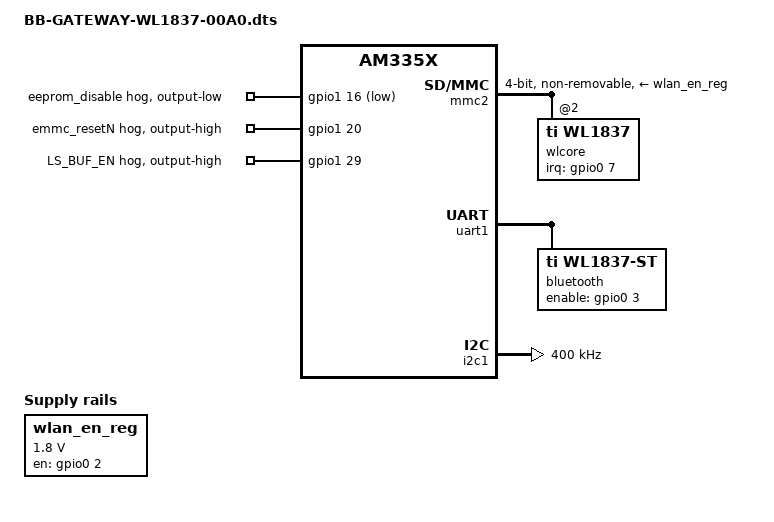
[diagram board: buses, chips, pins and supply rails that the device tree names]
// SPDX-License-Identifier: GPL-2.0-only
/*
 * Copyright (C) 2012 Texas Instruments Incorporated - https://www.ti.com/
 */

/dts-v1/;
/plugin/;

#include <dt-bindings/gpio/gpio.h>
#include <dt-bindings/pinctrl/am33xx.h>
#include <dt-bindings/interrupt-controller/irq.h>

/ {
	compatible = "ti,am335x-bone";
};

&{/} {
	wlan_en_reg: fixedregulator@2 {
		compatible = "regulator-fixed";
		regulator-name = "wlan-en-regulator";
		regulator-min-microvolt = <1800000>;
		regulator-max-microvolt = <1800000>;
		startup-delay-us= <70000>;

		/* WL_EN */
		gpio = <&gpio0 2 0>;
		enable-active-high;
	};
};

/*
 * Free up the pins used by the cape from the pinmux helpers.
 */
&ocp {
	P9_21_pinmux { status = "disabled"; };	/* P9_21: gpio0_3 BT_EN */

	P8_26_pinmux { status = "disabled"; };	/* P8_26: gpmc_csn0.gpio1_29 LS_BUF_EN */

	P9_15_pinmux { status = "disabled"; };	/* P9_15: EEPROM Disable */

	P8_21_pinmux { status = "disabled"; };	/* P8_21: gpmc_csn1.mmc1_clk */
	P8_20_pinmux { status = "disabled"; };	/* P8_20: gpmc_csn2.mmc1_cmd */
	P8_25_pinmux { status = "disabled"; };	/* P8_25: gpmc_ad0.mmc1_dat0 */
	P8_24_pinmux { status = "disabled"; };	/* P8_24: gpmc_ad1.mmc1_dat1 */
	P8_05_pinmux { status = "disabled"; };	/* P8_05: gpmc_ad2.mmc1_dat2 */
	P8_06_pinmux { status = "disabled"; };	/* P8_06: gpmc_ad3.mmc1_dat3 */

	P9_22_pinmux { status = "disabled"; };	/* P9_22: gpio0_2 WL_EN */
	P9_42_pinmux { status = "disabled"; };	/* P9_42: gpio0_7 WL_IRQ */
	P8_07_pinmux { status = "disabled"; };	/* P8_07: gpmc_advn_ale.gpio2_2 Audio_sync */


	P9_26_pinmux { status = "disabled"; };	/* P9_26: (D16) uart1_rxd.uart1_rxd */
	P9_24_pinmux { status = "disabled"; };	/* P9_24: (D15) uart1_txd.uart1_txd */
	P9_20_pinmux { status = "disabled"; };	/* P9_20: (D18) uart1_ctsn.uart1_ctsn */
	P9_19_pinmux { status = "disabled"; };	/* P9_19: (D17) uart1_rtsn.uart1_rtsn */


	P9_17_pinmux { status = "disabled"; };	/* P9_17: i2c1 */
	P9_18_pinmux { status = "disabled"; };	/* P9_18: i2c1 */
};

&am33xx_pinmux {
	wlbtbuf_pin: pinmux_wlbtbuf_pin {
		pinctrl-single,pins = <
			AM33XX_IOPAD(AM335X_PIN_GPMC_CSN0, PIN_OUTPUT_PULLUP | MUX_MODE7)	/* P8_26: gpmc_csn0.gpio1_29 LS_BUF_EN */
		>;
	};

	btbuf_pin: pinmux_btbuf_pin {
		pinctrl-single,pins = <
			AM33XX_IOPAD(AM335X_PIN_GPMC_A0, PIN_OUTPUT_PULLDOWN | MUX_MODE7)	/* P9_15: EEPROM Disable */
		>;
	};

	mmc2_pins: pinmux_mmc2_pins {
		pinctrl-single,pins = <
			AM33XX_IOPAD(AM335X_PIN_GPMC_CSN1, PIN_INPUT_PULLUP | MUX_MODE2)	/* P8_21: gpmc_csn1.mmc1_clk */
			AM33XX_IOPAD(AM335X_PIN_GPMC_CSN2, PIN_INPUT_PULLUP | MUX_MODE2)	/* P8_20: gpmc_csn2.mmc1_cmd */
			AM33XX_IOPAD(AM335X_PIN_GPMC_AD0, PIN_INPUT_PULLUP | MUX_MODE1)		/* P8_25: gpmc_ad0.mmc1_dat0 */
			AM33XX_IOPAD(AM335X_PIN_GPMC_AD1, PIN_INPUT_PULLUP | MUX_MODE1)		/* P8_24: gpmc_ad1.mmc1_dat1 */
			AM33XX_IOPAD(AM335X_PIN_GPMC_AD2, PIN_INPUT_PULLUP | MUX_MODE1)		/* P8_05: gpmc_ad2.mmc1_dat2 */
			AM33XX_IOPAD(AM335X_PIN_GPMC_AD3, PIN_INPUT_PULLUP | MUX_MODE1)		/* P8_06: gpmc_ad3.mmc1_dat3 */
		>;
	};

	mmc2_pins_sleep: pinmux_mmc2_pins_sleep {
		pinctrl-single,pins = <
			AM33XX_IOPAD(AM335X_PIN_GPMC_CSN1, PIN_INPUT_PULLDOWN | MUX_MODE2)	/* P8_21: gpmc_csn1.mmc1_clk */
			AM33XX_IOPAD(AM335X_PIN_GPMC_CSN2, PIN_INPUT_PULLDOWN | MUX_MODE2)	/* P8_20: gpmc_csn2.mmc1_cmd */
			AM33XX_IOPAD(AM335X_PIN_GPMC_AD0, PIN_INPUT_PULLDOWN | MUX_MODE1)	/* P8_25: gpmc_ad0.mmc1_dat0 */
			AM33XX_IOPAD(AM335X_PIN_GPMC_AD1, PIN_INPUT_PULLDOWN | MUX_MODE1)	/* P8_24: gpmc_ad1.mmc1_dat1 */
			AM33XX_IOPAD(AM335X_PIN_GPMC_AD2, PIN_INPUT_PULLDOWN | MUX_MODE1)	/* P8_05: gpmc_ad2.mmc1_dat2 */
			AM33XX_IOPAD(AM335X_PIN_GPMC_AD3, PIN_INPUT_PULLDOWN | MUX_MODE1)	/* P8_06: gpmc_ad3.mmc1_dat3 */
		>;
	};

	/* wl18xx card enable/irq GPIOs. */
	wlan_pins: pinmux_wlan_pins {
		pinctrl-single,pins = <
			AM33XX_IOPAD(AM335X_PIN_SPI0_SCLK, PIN_OUTPUT_PULLUP | MUX_MODE7)		/* P9_22: gpio0_2 WL_EN */
			AM33XX_IOPAD(AM335X_PIN_ECAP0_IN_PWM0_OUT, PIN_INPUT_PULLUP | MUX_MODE7)	/* P9_42: gpio0_7 WL_IRQ */
			AM33XX_IOPAD(AM335X_PIN_GPMC_ADVN_ALE, PIN_OUTPUT_PULLDOWN | MUX_MODE7)		/* P8_07: gpmc_advn_ale.gpio2_2 Audio_sync */
		>;
	};

	/* wl18xx card enable/irq GPIOs. */
	wlan_pins_sleep: pinmux_wlan_pins_sleep {
		pinctrl-single,pins = <
			AM33XX_IOPAD(AM335X_PIN_SPI0_SCLK, PIN_OUTPUT_PULLUP | MUX_MODE7)		/* P9_22: gpio0_2 WL_EN */
			AM33XX_IOPAD(AM335X_PIN_ECAP0_IN_PWM0_OUT, PIN_INPUT_PULLUP | MUX_MODE7)	/* P9_42: gpio0_7 WL_IRQ */
			AM33XX_IOPAD(AM335X_PIN_GPMC_ADVN_ALE, PIN_OUTPUT_PULLDOWN | MUX_MODE7)		/* P8_07: gpmc_advn_ale.gpio2_2 Audio_sync */
		>;
	};

	uart1_pins_default: pinmux_uart1_pins_default {
		pinctrl-single,pins = <
			AM33XX_IOPAD(AM335X_PIN_UART1_RXD, PIN_INPUT_PULLUP | MUX_MODE0)	/* P9_26: (D16) uart1_rxd.uart1_rxd */
			AM33XX_IOPAD(AM335X_PIN_UART1_TXD, PIN_OUTPUT_PULLDOWN | MUX_MODE0)	/* P9_24: (D15) uart1_txd.uart1_txd */
			AM33XX_IOPAD(AM335X_PIN_UART1_CTSN, PIN_INPUT | MUX_MODE0)		/* P9_20: (D18) uart1_ctsn.uart1_ctsn */
			AM33XX_IOPAD(AM335X_PIN_UART1_RTSN, PIN_OUTPUT_PULLDOWN | MUX_MODE0)	/* P9_19: (D17) uart1_rtsn.uart1_rtsn */
		>;
	};

	uart1_pins_sleep: pinmux_uart1_pins_sleep {
		pinctrl-single,pins = <
			AM33XX_IOPAD(AM335X_PIN_UART1_RXD, PIN_INPUT_PULLDOWN | MUX_MODE7)	/* P9_26: (D16) uart1_rxd.uart1_rxd */
			AM33XX_IOPAD(AM335X_PIN_UART1_TXD, PIN_INPUT_PULLDOWN | MUX_MODE7)	/* P9_24: (D15) uart1_txd.uart1_txd */
			AM33XX_IOPAD(AM335X_PIN_UART1_CTSN, PIN_INPUT_PULLDOWN | MUX_MODE7)	/* P9_20: (D18) uart1_ctsn.uart1_ctsn */
			AM33XX_IOPAD(AM335X_PIN_UART1_RTSN, PIN_INPUT_PULLDOWN | MUX_MODE7)	/* P9_19: (D17) uart1_rtsn.uart1_rtsn */
		>;
	};

	bb_i2c1_pins: pinmux_bb_i2c1_pins {
		pinctrl-single,pins = <
			AM33XX_IOPAD(AM335X_PIN_SPI0_CS0, PIN_INPUT_PULLUP | MUX_MODE2)	/* P9_17: i2c1 */
			AM33XX_IOPAD(AM335X_PIN_SPI0_D1, PIN_INPUT_PULLUP | MUX_MODE2)	/* P9_18: i2c1 */
		>;
	};
};

&i2c2 {
	status = "disabled";
};

&mmc2 {
	status = "okay";
	vmmc-supply = <&wlan_en_reg>;
	bus-width = <4>;
	non-removable;
	cap-power-off-card;
	ti,needs-special-hs-handling;
	keep-power-in-suspend;
	pinctrl-names = "default", "sleep";
	pinctrl-0 = <&mmc2_pins &wlan_pins &wlbtbuf_pin>;
	pinctrl-1 = <&mmc2_pins_sleep &wlan_pins_sleep &wlbtbuf_pin>;

	#address-cells = <1>;
	#size-cells = <0>;
	wlcore: wlcore@2 {
		compatible = "ti,wl1837";
		reg = <2>;
		interrupt-parent = <&gpio0>;
		interrupts = <7 IRQ_TYPE_EDGE_RISING>;
	};
};

&uart1 {
	pinctrl-names = "default", "sleep";
	pinctrl-0 = <&uart1_pins_default &btbuf_pin>;
	pinctrl-1 = <&uart1_pins_sleep &btbuf_pin>;
	status = "okay";

	bluetooth {
		compatible = "ti,wl1837-st";
		enable-gpios = <&gpio0 3 GPIO_ACTIVE_HIGH>;
	};
};

&gpio1 {
	eeprom_disable {
		gpio-hog;
		gpios = <16 GPIO_ACTIVE_LOW>;
		output-low;
		line-name = "eeprom_disable";
	};
	emmc_rst {
		gpio-hog;
		gpios = <20 GPIO_ACTIVE_HIGH>;
		output-high;
		line-name = "emmc_resetN";
	};
	ls_buf_en {
		gpio-hog;
		gpios = <29 GPIO_ACTIVE_HIGH>;
		output-high;
		line-name = "LS_BUF_EN";
	};
};

&i2c1 {
	pinctrl-names = "default";
	pinctrl-0 = <&bb_i2c1_pins>;
	status = "okay";
	clock-frequency = <400000>;
};
